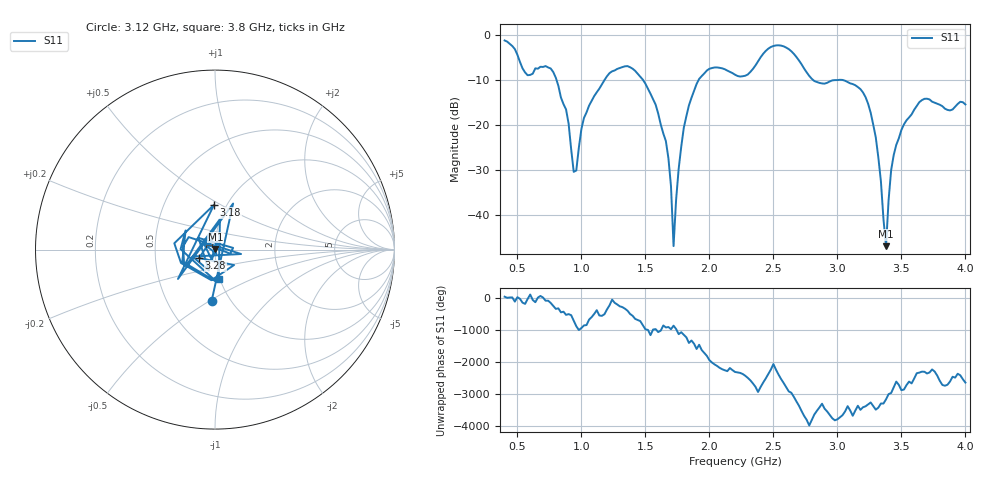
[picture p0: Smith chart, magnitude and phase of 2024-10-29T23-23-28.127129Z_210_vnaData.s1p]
!Created with skrf (http://scikit-rf.org).
# Hz S RI R 50.0
!freq ReS11 ImS11
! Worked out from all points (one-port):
!   181 points, 400 MHz to 4 GHz, reference 50 ohm
!   lowest |S11| = -46.9 dB at 3.38 GHz (marker M1), VSWR 1.01, Z = 50.2 + j0.392 ohm
!   |S11| at or under -10 dB: 805.3 MHz to 1.181 GHz (375.9 MHz wide, 37.8 % of centre); 1.481 GHz to 1.916 GHz (435.1 MHz wide, 25.6 % of centre); 3.032 GHz to end of sweep (the widest 3 of 4)
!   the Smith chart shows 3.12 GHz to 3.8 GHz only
!   S11 on the Smith chart (normalised r, x): 3.12 GHz: 0.82, -0.51; 3.18 GHz: 0.87, +0.47; 3.28 GHz: 0.83, -0.08; 3.8 GHz: 0.98, -0.34
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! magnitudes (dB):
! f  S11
! 400 MHz  -1.3
! 580 MHz  -9.0
! 760 MHz  -7.5
! 860 MHz  -15.4
! 960 MHz  -30.1
! 1.06 GHz  -15.7
! 1.3 GHz  -7.4
! 1.58 GHz  -15.5
! 1.68 GHz  -27.4
! 1.7 GHz  -33.6
! 1.72 GHz  -46.9
! 1.76 GHz  -29.7
! 1.82 GHz  -18.1
! 1.92 GHz  -9.8
! 2.2 GHz  -8.8
! 2.66 GHz  -4.2
! 2.82 GHz  -10.3
! 3.1 GHz  -10.8
! 3.12 GHz  -10.9
! 3.18 GHz  -12.0
! 3.28 GHz  -19.9
! 3.34 GHz  -32.5
! 3.38 GHz  -46.9
! 3.4 GHz  -36.7
! 3.44 GHz  -26.7
! 3.56 GHz  -18.3
! 3.8 GHz  -15.5
! 4 GHz  -15.4
